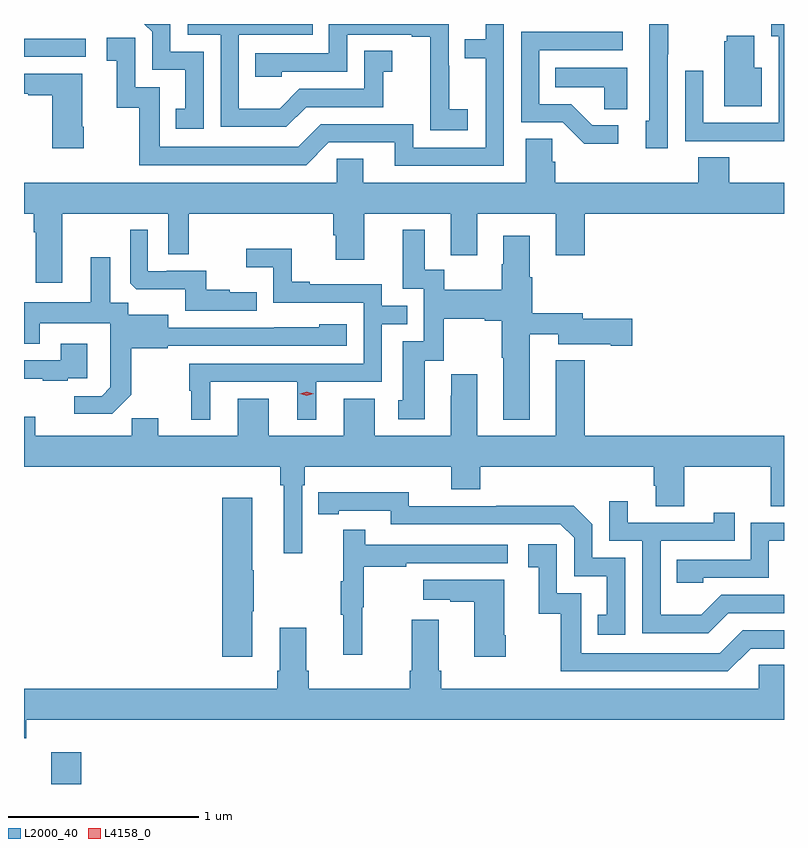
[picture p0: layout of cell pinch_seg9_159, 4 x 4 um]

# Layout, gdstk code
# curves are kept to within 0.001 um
import gdstk
lib = gdstk.Library(unit=1e-6, precision=1e-09)
def R(c, l, rs):  # rectangles x0, y0, x1, y1
    for r in rs: c.add(gdstk.rectangle(r[:2], r[2:], *l))
def P(c, l, *ps):  # polygons
    for p in ps: c.add(gdstk.Polygon(p, *l))
L2000_40 = (2000, 40)
L4158_0 = (4158, 0)

pinch_seg9_159 = lib.new_cell('pinch_seg9_159')
R(pinch_seg9_159, L2000_40, [(659.288,1184.095,659.447,1184.263), (659.145,1187.922,659.47,1188.018)])
P(pinch_seg9_159, L2000_40, [(661.671,1188.095),(661.575,1188.095),(661.575,1188.015),(661.465,1188.015),(661.465,1187.914),(661.575,1187.914),(661.575,1187.445),(661.194,1187.445),(661.194,1187.568),(660.708,1187.568),(660.588,1187.448),(659.859,1187.448),(659.859,1187.763),(659.73,1187.763),(659.73,1188.022),(659.58,1188.022),(659.58,1187.901),(659.633,1187.901),(659.633,1187.655),(659.751,1187.655),(659.751,1187.352),(660.63,1187.352),(660.75,1187.472),(661.097,1187.472),(661.097,1187.349),(661.671,1187.349)],
  [(663.145,1188.095),(663.077,1188.095),(663.077,1188.031),(663.117,1188.031),(663.117,1187.574),(662.721,1187.574),(662.721,1187.848),(662.625,1187.848),(662.625,1187.478),(662.941,1187.478),(662.941,1187.477),(663.145,1187.477)],
  [(661.48,1187.647),(661.382,1187.647),(661.382,1187.876),(661.38,1187.876),(661.38,1188.095),(660.75,1188.095),(660.75,1187.94),(660.361,1187.94),(660.361,1187.817),(660.501,1187.817),(660.501,1187.844),(660.846,1187.844),(660.846,1188.039),(661.187,1188.039),(661.187,1188.027),(661.283,1188.027),(661.283,1187.743),(661.282,1187.743),(661.282,1187.537),(661.48,1187.537)],
  [(660.09,1187.949),(659.916,1187.949),(659.916,1188.095),(659.779,1188.095),(659.82,1188.054),(659.82,1187.853),(659.993,1187.853),(659.993,1187.649),(659.944,1187.649),(659.944,1187.544),(660.09,1187.544)],
  [(660.631,1187.658),(661.035,1187.658),(661.035,1187.843),(661.084,1187.843),(661.084,1187.953),(660.936,1187.953),(660.936,1187.754),(660.594,1187.754),(660.49,1187.65),(660.276,1187.65),(660.276,1188.039),(660.665,1188.039),(660.665,1188.095),(660.006,1188.095),(660.006,1188.039),(660.18,1188.039),(660.18,1187.553),(660.526,1187.553)],
  [(662.532,1187.935),(662.535,1187.935),(662.535,1188.095),(662.436,1188.095),(662.436,1187.586),(662.417,1187.586),(662.417,1187.442),(662.532,1187.442)],
  [(662.272,1187.562),(662.137,1187.562),(662.026,1187.673),(661.857,1187.673),(661.857,1187.958),(662.296,1187.958),(662.296,1188.054),(661.761,1188.054),(661.761,1187.577),(661.98,1187.577),(662.093,1187.465),(662.272,1187.465)],
  [(663.028,1187.866),(662.989,1187.866),(662.989,1188.034),(662.843,1188.034),(662.843,1188.003),(662.831,1188.003),(662.831,1187.663),(663.028,1187.663)],
  [(662.32,1187.866),(661.942,1187.866),(661.942,1187.762),(662.199,1187.762),(662.199,1187.647),(662.32,1187.647)],
  [(659.46,1187.554),(659.452,1187.554),(659.452,1187.833),(659.145,1187.833),(659.145,1187.729),(659.168,1187.729),(659.168,1187.719),(659.294,1187.719),(659.294,1187.442),(659.46,1187.442)],
  [(659.347,1187.096),(659.904,1187.096),(659.904,1186.882),(660.013,1186.882),(660.013,1187.096),(660.773,1187.096),(660.773,1186.983),(660.785,1186.983),(660.785,1186.854),(660.937,1186.854),(660.937,1187.096),(661.391,1187.096),(661.391,1186.878),(661.531,1186.878),(661.531,1187.096),(661.943,1187.096),(661.943,1186.878),(662.096,1186.878),(662.096,1187.096),(663.145,1187.096),(663.145,1187.26),(662.858,1187.26),(662.858,1187.393),(662.693,1187.393),(662.693,1187.26),(661.94,1187.26),(661.94,1187.369),(661.926,1187.369),(661.926,1187.492),(661.787,1187.492),(661.787,1187.26),(660.931,1187.26),(660.931,1187.387),(660.792,1187.387),(660.792,1187.26),(659.145,1187.26),(659.145,1187.096),(659.195,1187.096),(659.195,1187),(659.207,1187),(659.207,1186.734),(659.347,1186.734)],
  [(660.371,1186.684),(660.227,1186.684),(660.227,1186.696),(660.104,1186.696),(660.104,1186.797),(659.896,1186.797),(659.896,1186.794),(659.796,1186.794),(659.796,1187.011),(659.703,1187.011),(659.703,1186.731),(659.735,1186.7),(659.994,1186.7),(659.994,1186.587),(660.371,1186.587)],
  [(661.807,1186.463),(661.958,1186.463),(661.958,1186.409),(662.234,1186.409),(662.234,1186.402),(662.347,1186.402),(662.347,1186.544),(662.086,1186.544),(662.086,1186.573),(661.82,1186.573),(661.82,1186.763),(661.807,1186.763),(661.807,1186.981),(661.667,1186.981),(661.667,1186.83),(661.66,1186.83),(661.66,1186.696),(661.357,1186.696),(661.357,1186.802),(661.255,1186.802),(661.255,1187.011),(661.139,1187.011),(661.139,1186.701),(661.248,1186.701),(661.248,1186.425),(661.139,1186.425),(661.139,1186.116),(661.115,1186.116),(661.115,1186.014),(661.255,1186.014),(661.255,1186.322),(661.353,1186.322),(661.353,1186.544),(661.571,1186.544),(661.571,1186.532),(661.66,1186.532),(661.66,1186.339),(661.667,1186.339),(661.667,1186.013),(661.807,1186.013)],
  [(660.124,1186.212),(660.584,1186.212),(660.584,1186.013),(660.682,1186.013),(660.682,1186.212),(661.029,1186.212),(661.029,1186.515),(661.163,1186.515),(661.163,1186.611),(661.029,1186.611),(661.029,1186.725),(660.649,1186.725),(660.649,1186.738),(660.555,1186.738),(660.555,1186.913),(660.315,1186.913),(660.315,1186.814),(660.456,1186.814),(660.456,1186.629),(660.933,1186.629),(660.933,1186.308),(660.015,1186.308),(660.015,1186.164),(660.026,1186.164),(660.026,1186.013),(660.124,1186.013)],
  [(659.709,1186.143),(659.709,1186.389),(659.901,1186.389),(659.901,1186.401),(660.844,1186.401),(660.844,1186.516),(660.699,1186.516),(660.699,1186.498),(659.905,1186.497),(659.905,1186.564),(659.694,1186.564),(659.694,1186.628),(659.599,1186.628),(659.599,1186.867),(659.495,1186.867),(659.495,1186.63),(659.145,1186.63),(659.145,1186.411),(659.227,1186.411),(659.227,1186.52),(659.598,1186.52),(659.598,1186.279),(659.6,1186.279),(659.6,1186.184),(659.553,1186.137),(659.409,1186.137),(659.409,1186.043),(659.609,1186.043)],
  [(659.375,1186.23),(659.479,1186.23),(659.479,1186.411),(659.339,1186.411),(659.339,1186.326),(659.145,1186.326),(659.145,1186.229),(659.243,1186.229),(659.243,1186.218),(659.375,1186.218)],
  [(660.609,1185.668),(660.623,1185.668),(660.623,1185.764),(661.394,1185.764),(661.394,1185.647),(661.547,1185.647),(661.547,1185.764),(662.459,1185.764),(662.459,1185.666),(662.471,1185.666),(662.471,1185.556),(662.619,1185.556),(662.619,1185.764),(663.076,1185.764),(663.076,1185.556),(663.145,1185.556),(663.145,1185.928),(662.096,1185.928),(662.096,1186.324),(661.943,1186.324),(661.943,1185.928),(661.531,1185.928),(661.531,1186.252),(661.394,1186.252),(661.394,1186.139),(661.391,1186.139),(661.391,1185.928),(660.991,1185.928),(660.991,1186.123),(660.827,1186.123),(660.827,1185.928),(660.433,1185.928),(660.433,1186.123),(660.269,1186.123),(660.269,1185.928),(659.851,1185.928),(659.851,1186.019),(659.713,1186.019),(659.713,1185.928),(659.203,1185.928),(659.203,1186.027),(659.145,1186.027),(659.145,1185.764),(660.493,1185.764),(660.493,1185.668),(660.512,1185.668),(660.512,1185.309),(660.609,1185.309)],
  [(662.31,1185.285),(662.136,1185.285),(662.136,1185.462),(662.038,1185.56),(661.63,1185.56),(661.63,1185.558),(661.17,1185.558),(661.17,1185.631),(660.694,1185.63),(660.694,1185.514),(660.802,1185.514),(660.802,1185.534),(661.074,1185.534),(661.074,1185.462),(661.968,1185.462),(662.04,1185.39),(662.04,1185.189),(662.213,1185.189),(662.213,1184.985),(662.164,1184.985),(662.164,1184.88),(662.31,1184.88)],
  [(660.346,1185.004),(660.354,1185.004),(660.354,1185.221),(660.346,1185.221),(660.346,1185.601),(660.188,1185.601),(660.188,1184.766),(660.346,1184.766)],
  [(662.851,1184.994),(663.145,1184.994),(663.145,1185.09),(662.814,1185.09),(662.71,1184.986),(662.496,1184.986),(662.496,1185.375),(662.885,1185.375),(662.885,1185.523),(662.774,1185.523),(662.774,1185.471),(662.323,1185.471),(662.323,1185.583),(662.226,1185.583),(662.226,1185.375),(662.4,1185.375),(662.4,1184.889),(662.746,1184.889)],
  [(662.721,1185.18),(663.066,1185.18),(663.066,1185.375),(663.145,1185.375),(663.145,1185.471),(662.97,1185.471),(662.97,1185.276),(662.581,1185.276),(662.581,1185.153),(662.721,1185.153)],
  [(660.926,1185.024),(660.934,1185.024),(660.934,1185.238),(661.157,1185.238),(661.157,1185.258),(661.69,1185.258),(661.69,1185.354),(660.941,1185.354),(660.941,1185.433),(660.824,1185.433),(660.824,1185.161),(660.813,1185.161),(660.813,1184.987),(660.824,1184.987),(660.824,1184.775),(660.926,1184.775)],
  [(662.97,1184.808),(663.145,1184.808),(663.145,1184.904),(662.928,1184.904),(662.808,1184.784),(662.079,1184.784),(662.079,1185.099),(661.95,1185.099),(661.95,1185.358),(661.8,1185.358),(661.8,1185.237),(661.853,1185.237),(661.853,1184.991),(661.971,1184.991),(661.971,1184.688),(662.85,1184.688)],
  [(661.68,1184.878),(661.672,1184.878),(661.672,1185.169),(661.245,1185.169),(661.245,1185.065),(661.388,1185.065),(661.388,1185.055),(661.514,1185.055),(661.514,1184.766),(661.68,1184.766)],
  [(659.156,1184.432),(663.145,1184.432),(663.145,1184.723),(663.012,1184.723),(663.012,1184.596),(661.34,1184.596),(661.34,1184.692),(661.327,1184.692),(661.327,1184.959),(661.187,1184.959),(661.187,1184.692),(661.175,1184.692),(661.175,1184.596),(660.644,1184.596),(660.644,1184.692),(660.631,1184.692),(660.631,1184.917),(660.491,1184.917),(660.491,1184.692),(660.479,1184.692),(660.479,1184.596),(659.145,1184.596),(659.145,1184.336),(659.156,1184.336)])
P(pinch_seg9_159, L4158_0, [(660.633,1186.139),(660.597,1186.149),(660.597,1186.149),(660.597,1186.149),(660.633,1186.159),(660.669,1186.149),(660.669,1186.149),(660.669,1186.149)])

lib.write_gds('pinch_seg9_159.gds')
